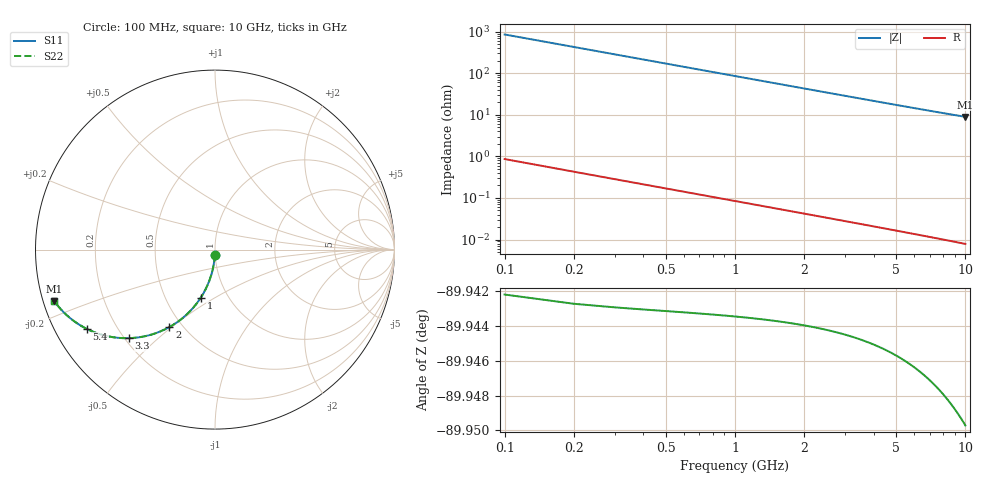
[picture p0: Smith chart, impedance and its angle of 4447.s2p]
# Hz S RI R 50.00
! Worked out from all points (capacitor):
!   100 points, 100 MHz to 10 GHz, reference 50 ohm
!   read as one part in shunt: C = 1.86 pF near 100 MHz
!   lowest |Z| = 8.94 ohm at 10 GHz (marker M1)
!   S11 on the Smith chart (normalised r, x): 100 MHz: 1.00, -0.06; 1 GHz: 0.75, -0.43; 2 GHz: 0.43, -0.49; 3.3 GHz: 0.22, -0.40; 5.4 GHz: 0.09, -0.28; 10 GHz: 0.03, -0.16
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1e8  -0.000846 -0.029  0.9991 -0.0293  0.9991 -0.0293  -0.000846 -0.029
2e8  -0.00342 -0.0579  0.9965 -0.0585  0.9965 -0.0585  -0.00342 -0.0579
3e8  -0.00766 -0.0864  0.9923 -0.0874  0.9923 -0.0874  -0.00766 -0.0864
4e8  -0.0135 -0.1145  0.9864 -0.1159  0.9864 -0.1159  -0.0135 -0.1145
5e8  -0.021 -0.142  0.979 -0.1437  0.979 -0.1437  -0.021 -0.142
6e8  -0.0299 -0.1689  0.97 -0.1709  0.97 -0.1709  -0.0299 -0.1689
7e8  -0.0402 -0.1949  0.9597 -0.1973  0.9597 -0.1973  -0.0402 -0.1949
8e8  -0.0519 -0.22  0.948 -0.2227  0.948 -0.2227  -0.0519 -0.22
1e9  -0.0787 -0.2672  0.9212 -0.2706  0.9212 -0.2706  -0.0787 -0.2672
1.2e9  -0.1095 -0.3098  0.8904 -0.3139  0.8904 -0.3139  -0.1095 -0.3098
1.4e9  -0.1433 -0.3475  0.8566 -0.3523  0.8566 -0.3523  -0.1433 -0.3475
1.8e9  -0.2165 -0.4083  0.7834 -0.4145  0.7834 -0.4145  -0.2165 -0.4083
2e9  -0.2543 -0.4316  0.7456 -0.4384  0.7456 -0.4384  -0.2543 -0.4316
2.6e9  -0.3654 -0.4766  0.6345 -0.4855  0.6345 -0.4855  -0.3654 -0.4766
3.3e9  -0.4811 -0.4934  0.5187 -0.5048  0.5187 -0.5048  -0.4811 -0.4934
3.4e9  -0.496 -0.4936  0.5038 -0.5054  0.5038 -0.5054  -0.496 -0.4936
4.2e9  -0.6003 -0.482  0.3995 -0.4966  0.3995 -0.4966  -0.6003 -0.482
5.1e9  -0.689 -0.4534  0.3107 -0.4713  0.3107 -0.4713  -0.689 -0.4534
5.4e9  -0.713 -0.4423  0.2867 -0.4612  0.2867 -0.4612  -0.713 -0.4423
6.7e9  -0.7931 -0.3926  0.2066 -0.4163  0.2066 -0.4163  -0.7931 -0.3926
8.4e9  -0.8581 -0.3331  0.1413 -0.3632  0.1413 -0.3632  -0.8581 -0.3331
1e10  -0.896 -0.2861  0.1032 -0.3224  0.1032 -0.3224  -0.896 -0.2861
